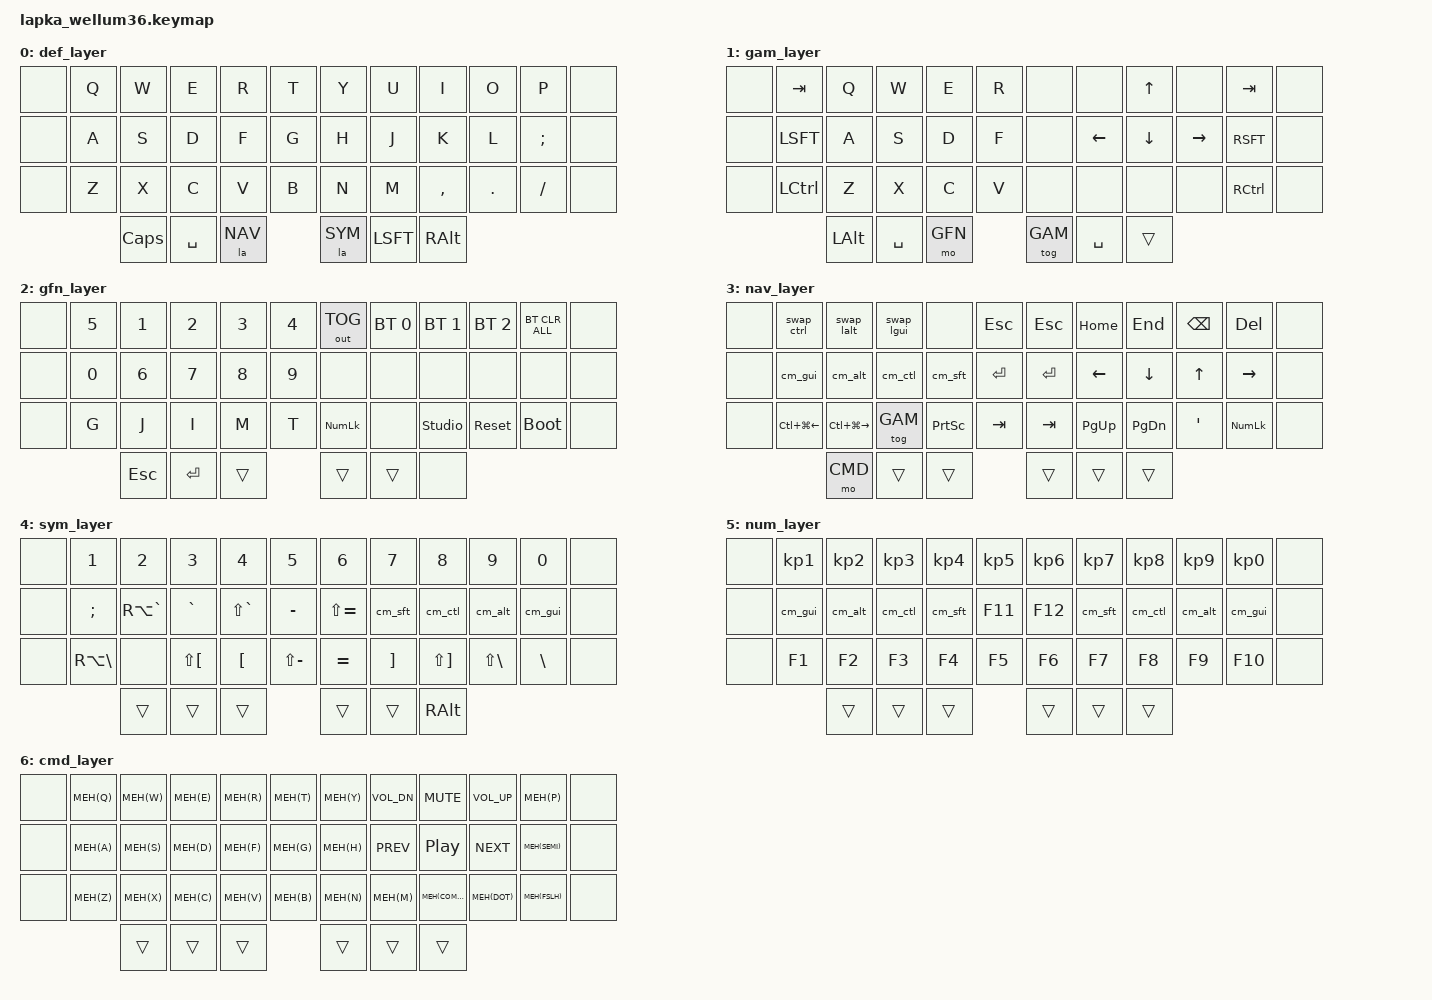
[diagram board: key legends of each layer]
#include <behaviors.dtsi>
#include <dt-bindings/zmk/outputs.h>
#include <dt-bindings/zmk/keys.h>
#include <dt-bindings/zmk/bt.h>

#include <dt-bindings/zmk/ext_power.h>

#define _ &kp
#define ___ &none
#define ______ &trans

#define DEF 0
#define GAM 1
#define GFN 2
#define NAV 3
#define SYM 4
#define NUM 5
#define CMD 6

#define MEH(key) LS(LC(LA(key)))

// Universal Layout bindings

#define SQuot     GRAVE
#define DQuot     LS(GRAVE)
#define Grave     RA(GRAVE)
#define Pipe      LS(BSLH)
#define Backslash RA(BSLH)
#define Nbsp      RA(SPACE)
#define Comma     LBKT
#define Semicolon LS(LBKT)
#define Dot       RBKT
#define Colon     LS(RBKT)
#define Minus     MINUS
#define Under     LS(MINUS)
#define Equal     EQUAL
#define Plus      LS(EQUAL)
#define Slash     BSLH
#define LBracket  DOT
#define LBrace    LS(DOT)
#define RBracket  FSLH
#define RBrace    LS(FSLH)
#define Ampersand COMMA
#define Tilde     SEMI

// Media keys rebinds
#define VOL_U C_VOL_UP
#define VOL_D C_VOL_DN
#define T_PRV C_PREV
#define T_NXT C_NEXT
#define T_PP  C_PP

// Window Management mapping
#define NextSpace LC(LG(RIGHT))
#define PrevSpace LC(LG(LEFT))

// Bluetooth profiles mapping
#define BT_1      &bt BT_SEL 0
#define BT_2      &bt BT_SEL 1
#define BT_3      &bt BT_SEL 2
#define BT_Clear  &bt BT_CLR_ALL
#define BT_Toggle &out OUT_TOG

// custom implementation of modified callum-mods,
// which can be released on second keypress
// and also work with swapper and/or tabber

#define PARAM_1 0
#define PARAM_2 0

#define MACRO(NAME, COMPATIBLE, BINDING_CELLS, BINDINGS) \
    NAME: NAME { \
        compatible = COMPATIBLE; \
        #binding-cells = <BINDING_CELLS>; \
        wait-ms = <0>; \
        tap-ms = <0>; \
        bindings = \
            <BINDINGS>; \
    };

#define MACRO_NO_PARAM(NAME, BINDINGS)  MACRO(NAME, "zmk,behavior-macro"          , 0, BINDINGS)
#define MACRO_ONE_PARAM(NAME, BINDINGS) MACRO(NAME, "zmk,behavior-macro-one-param", 1, BINDINGS)
#define MACRO_TWO_PARAM(NAME, BINDINGS) MACRO(NAME, "zmk,behavior-macro-two-param", 2, BINDINGS)

#define MAX_TIMER __UINT32_MAX__ // around 50 days

#define STICKY_FOREVER(NAME, BIND) \
    NAME: NAME { \
        compatible = "zmk,behavior-sticky-key"; \
        #binding-cells = <1>; \
        bindings = <BIND>; \
        release-after-ms = <MAX_TIMER>; \
        ignore-modifiers; \
    };

#define MODMORPH(NAME, NORMAL, MORPHED, MODS, KEEP_MODS) \
    NAME: NAME { \
        compatible = "zmk,behavior-mod-morph"; \
        #binding-cells = <0>; \
        bindings = <NORMAL>, <MORPHED>; \
        mods = <(MODS)>; \
        keep-mods = <(KEEP_MODS)>; \
    };

&sk {
        release-after-ms = <60000>;
};

/ {
    behaviors {
        MACRO_ONE_PARAM(
            m_release_key_twice,
            &macro_release
                &macro_param_1to1 &kp PARAM_1
                &macro_param_1to1 &kp PARAM_1
        )


        MACRO_ONE_PARAM(
            m_press_key_twice,
            &macro_press
                &macro_param_1to1 &kp PARAM_1
                &macro_param_1to1 &kp PARAM_1
            &macro_pause_for_release
            &macro_tap
                &macro_param_1to1
                &m_release_key_twice PARAM_1
        )

        STICKY_FOREVER(sticky_forever, &m_press_key_twice)

        MODMORPH(
            cm_gui,
            &sticky_forever LGUI,
            &m_release_key_twice LGUI,
            MOD_LGUI,
            MOD_LGUI
        )

        MODMORPH(
            cm_alt,
            &sticky_forever LALT,
            &m_release_key_twice LALT,
            MOD_LALT,
            MOD_LALT
        )

        MODMORPH(
            cm_ctl,
            &sticky_forever LCTRL,
            &m_release_key_twice LCTRL,
            MOD_LCTL,
            MOD_LCTL
        )

        MODMORPH(
            cm_sft,
            &sticky_forever LSHIFT,
            &m_release_key_twice LSHIFT,
            MOD_LSFT,
            MOD_LSFT
        )

        MACRO_TWO_PARAM(
            m_hold_mod_press_key,
            &macro_press
                &macro_param_1to1 &kp PARAM_1
            &macro_tap
                &macro_param_2to1 &kp PARAM_2
        )

        MODMORPH(
            swap_ctrl,
            &m_hold_mod_press_key LCTRL TAB,
            &kp TAB,
            MOD_LCTL,
            MOD_LCTL
        )

        MODMORPH(
            swap_lalt,
            &m_hold_mod_press_key LALT TAB,
            &kp TAB,
            MOD_LALT,
            MOD_LALT
        )

        MODMORPH(
            swap_lgui,
            &m_hold_mod_press_key LGUI TAB,
            &kp TAB,
            MOD_LGUI,
            MOD_LGUI
        )

        MACRO_ONE_PARAM(
            la,
            &macro_tap
                &kp 0 // do nothing, fire all sticky keys
            &macro_press
                &macro_param_1to1 &mo PARAM_1
            &macro_pause_for_release
            &macro_release
                &macro_param_1to1 &mo PARAM_1
                &kp LSHFT
                &kp LCTRL
                &kp LALT
                &kp LGUI
        )
    };

    conditional_layers {
        compatible = "zmk,conditional-layers";
        tri_layer {
            if-layers  = <NAV SYM>;
            then-layer = <NUM>;
        };
    };
};

/ {
    keymap {
        compatible = "zmk,keymap";

        def_layer {
            bindings = <
___         _ Q         _ W         _ E         _ R         _ T         _ Y         _ U         _ I         _ O         _ P         ___
___         _ A         _ S         _ D         _ F         _ G         _ H         _ J         _ K         _ L         _ Tilde     ___
___         _ Z         _ X         _ C         _ V         _ B         _ N         _ M         _ Ampersand _ LBracket  _ RBracket  ___
                                    _ CAPS      _ SPACE     &la NAV     &la SYM     _ LSFT      _ RALT
            >;
        };

        gam_layer {
            bindings = <
___         _ TAB       _ Q         _ W         _ E         _ R         ___         ___         _ UP        ___         _ TAB       ___
___         _ LSFT      _ A         _ S         _ D         _ F         ___         _ LEFT      _ DOWN      _ RIGHT     _ RSFT      ___
___         _ LCTRL     _ Z         _ X         _ C         _ V         ___         ___         ___         ___         _ RCTRL     ___
                                    _ LALT      _ SPACE     &mo GFN     &tog GAM    _ SPACE     ______
            >;
        };

        gfn_layer {
            bindings = <
___         _ N5        _ N1        _ N2        _ N3        _ N4        BT_Toggle    BT_1       BT_2           BT_3        BT_Clear       ___
___         _ N0        _ N6        _ N7        _ N8        _ N9        ___          ___        ___            ___         ___            ___
___         _ G         _ J         _ I         _ M         _ T         _ KP_NUM     ___        &studio_unlock &sys_reset  &bootloader    ___
                                    _ ESC       _ RET       ______      ______       ______     ___
            >;
        };

        nav_layer {
            bindings = <
___         &swap_ctrl  &swap_lalt  &swap_lgui  ___         _ ESC       _ ESC       _ HOME      _ END       _ BSPC      _ DEL       ___
___         &cm_gui     &cm_alt     &cm_ctl     &cm_sft     _ RET       _ RET       _ LEFT      _ DOWN      _ UP        _ RIGHT     ___
___         _ PrevSpace _ NextSpace &tog GAM    _ PSCRN     _ TAB       _ TAB       _ PG_UP     _ PG_DN     _ APOS      _ KP_NUM    ___
                                    &mo CMD     ______      ______      ______      ______      ______
            >;
        };

        sym_layer {
            bindings = <
___         _ N1        _ N2        _ N3        _ N4        _ N5        _ N6        _ N7        _ N8        _ N9        _ N0        ___
___         _ Tilde     _ Grave     _ SQuot     _ DQuot     _ Minus     _ Plus      &cm_sft     &cm_ctl     &cm_alt     &cm_gui     ___
___         _ Backslash ___         _ Semicolon _ Comma     _ Under     _ Equal     _ Dot       _ Colon     _ Pipe      _ Slash     ___
                                    ______      ______      ______      ______      ______      _ RALT
            >;
        };

        num_layer {
            bindings = <
___         _ KP_N1     _ KP_N2     _ KP_N3     _ KP_N4     _ KP_N5     _ KP_N6     _ KP_N7     _ KP_N8     _ KP_N9     _ KP_N0     ___
___         &cm_gui     &cm_alt     &cm_ctl     &cm_sft     _ F11       _ F12       &cm_sft     &cm_ctl     &cm_alt     &cm_gui     ___
___         _ F1        _ F2        _ F3        _ F4        _ F5        _ F6        _ F7        _ F8        _ F9        _ F10       ___
                                    ______      ______      ______      ______      ______      ______
            >;
        };

        cmd_layer {
            bindings = <
___         _ MEH(Q)    _ MEH(W)    _ MEH(E)    _ MEH(R)    _ MEH(T)    _ MEH(Y)    _ VOL_D     _ C_MUTE     _ VOL_U    _ MEH(P)    ___
___         _ MEH(A)    _ MEH(S)    _ MEH(D)    _ MEH(F)    _ MEH(G)    _ MEH(H)    _ T_PRV     _ T_PP       _ T_NXT    _ MEH(SEMI) ___
___         _ MEH(Z)    _ MEH(X)    _ MEH(C)    _ MEH(V)    _ MEH(B)    _ MEH(N)    _ MEH(M)    _ MEH(COMMA) _ MEH(DOT) _ MEH(FSLH) ___
                                    ______      ______      ______      ______      ______      ______
            >;
        };
    };
};
